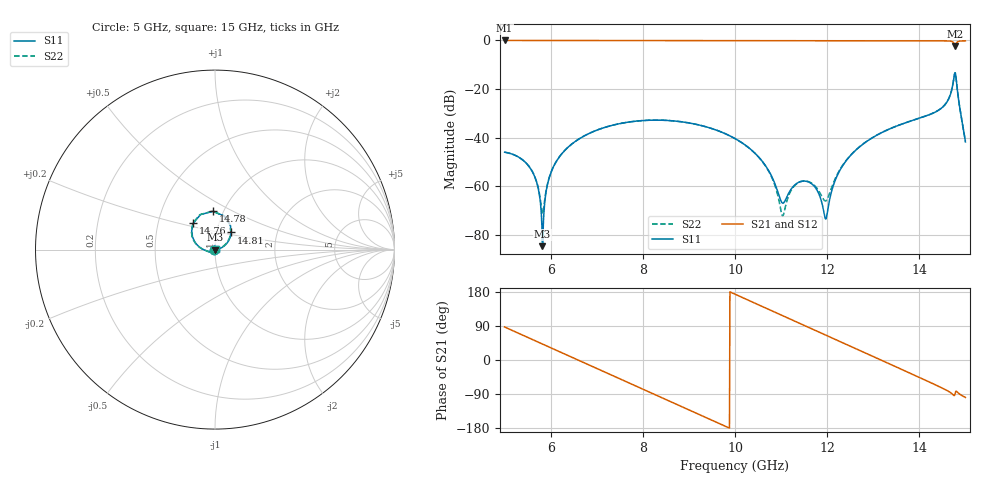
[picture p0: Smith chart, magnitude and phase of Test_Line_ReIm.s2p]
! TOUCHSTONE file generated by CST MICROWAVE STUDIO
! Date and time: Tue Apr 24 13:57:19 2018
! Project name: Test_Line_20170724.cst
! Header version: 2015
! Port assignment regex: !\s*Touchstone port\s*([0-9]+)\s*=\s*CST MWS port\s*([0-9]+)\s*\(\"(.*)\"\)(\s*mode\s*([0-9]+))?.*
! Touchstone port assignment:
! Touchstone port 1 = CST MWS port 1 ("")
! Touchstone port 2 = CST MWS port 2 ("")
# GHZ S RI R 50
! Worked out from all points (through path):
!   1001 points, 5 GHz to 15 GHz, reference 50 ohm
!   highest |S21| = -0.07 dB at 5 GHz (marker M1); lowest = -2.4 dB at 14.78 GHz (marker M2)
!   group delay of S21, straight-line fit = 152 ps
!   lowest |S11| = -84.5 dB at 5.82 GHz (marker M3), VSWR 1.00, Z = 50 + j0.00593 ohm
!   |S11| at or under -10 dB: start of sweep to end of sweep
!   |S22| runs from -72.2 to -13.4 dB; largest |S21 - S12| = 1e-05
!   S11 on the Smith chart (normalised r, x): 5 GHz: 0.99, +0.00; 14.76 GHz: 0.75, +0.23; 14.78 GHz: 0.90, +0.40; 14.81 GHz: 1.18, +0.23; 15 GHz: 1.02, +0.00
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5  -0.00504 0.000356  0.0508 0.9902  0.0508 0.9902  -0.00505 0.000117
5.58  -0.00176 0.00129  0.5627 0.8151  0.5627 0.8151  -0.00193 0.00105
5.71  -0.000777 0.000758  0.659 0.7391  0.659 0.7391  -0.000978 0.000534
5.82  2.08e-06 5.93e-05  0.7326 0.6659  0.7326 0.6659  -0.000229 -0.000149
6.07  0.00129 -0.00231  0.8687 0.4738  0.8687 0.4738  0.000998 -0.00247
6.67  -0.000698 -0.0101  0.986 -0.0721  0.986 -0.0721  -0.00109 -0.0101
7.59  -0.0164 -0.0119  0.5735 -0.8034  0.5735 -0.8034  -0.0166 -0.0115
8.34  -0.0229 0.00191  -0.0941 -0.981  -0.0941 -0.981  -0.0228 0.00244
9.25  -0.0106 0.0145  -0.8084 -0.5608  -0.8084 -0.5608  -0.0101 0.0148
10  0.000526 0.0096  -0.9769 0.1081  -0.9769 0.1081  0.00117 0.00953
10.67  0.00137 0.00221  -0.7179 0.67  -0.7179 0.67  0.00187 0.00174
11.03  -0.000181 0.000418  -0.4493 0.8725  -0.4493 0.8725  0.000139 -0.000203
11.31  -0.00109 0.000173  -0.2022 0.9598  -0.2022 0.9598  -0.000939 -0.000519
11.67  -0.00103 0.000442  0.1337 0.9711  0.1337 0.971  -0.00113 -0.000267
11.97  0.000104 0.000187  0.403 0.8929  0.403 0.8929  -0.000191 -0.000468
12.4  0.00225 -0.00234  0.726 0.6565  0.726 0.6565  0.00172 -0.00282
13.34  -0.00251 -0.0147  0.9636 -0.1616  0.9635 -0.1616  -0.00317 -0.0146
14.46  -0.0376 -0.0108  0.3027 -0.9248  0.3027 -0.9248  -0.0377 -0.0106
14.76  -0.12 0.1488  -0.054 -0.8245  -0.054 -0.8245  -0.1231 0.1471
14.78  -0.00979 0.2134  0.0368 -0.7598  0.0368 -0.7598  -0.0145 0.214
14.81  0.0905 0.0953  0.1102 -0.8776  0.1102 -0.8776  0.0882 0.0983
15  0.00818 0.000718  -0.148 -0.9603  -0.148 -0.9603  0.00831 0.00197
